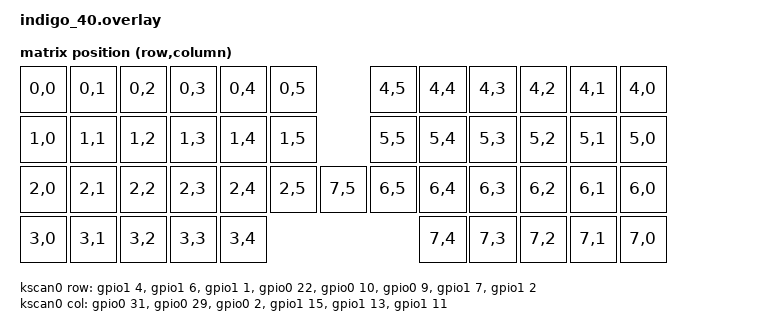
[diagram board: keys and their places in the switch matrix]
#include <dt-bindings/zmk/matrix_transform.h>
// #include <dt-bindings/zmk/input_transform.h> /* Uncomment for input transform */
#include "indigo_40-layouts.dtsi"

&pinctrl {
    /* configuration for spi0 device, default state */
    spi0_default: spi0_default {
        /* node name is arbitrary */
        group1 {
            psels = <NRF_PSEL(SPIM_SCK,  0, 20)>,
                    <NRF_PSEL(SPIM_MOSI, 0, 17)>;
        };
    };

    /* configuration for spi0 device, sleep state */
    spi0_sleep: spi0_sleep {
        group1 {
            psels = <NRF_PSEL(SPIM_SCK,  0, 20)>,
                    <NRF_PSEL(SPIM_MOSI, 0, 17)>;
            low-power-enable;
        };
    };

    /* configuration for i2c0 device, default state */
    i2c1_default: i2c1_default {
        /* node name is arbitrary */
        group2 {
            psels = <NRF_PSEL(TWIM_SDA, 1, 0 )>,
                    <NRF_PSEL(TWIM_SCL, 0, 11)>;
        };
    };

    /* configuration for i2c0 device, sleep state */
    i2c1_sleep: i2c1_sleep {
        group2 {
            psels = <NRF_PSEL(TWIM_SDA, 1, 0 )>,
                    <NRF_PSEL(TWIM_SCL, 0, 11)>;
            low-power-enable;
        };
    };
};

// Set up SPI on peripheral ID 0
&spi0 {
    status = "okay";
    compatible = "nordic,nrf-spim";
    pinctrl-0 = <&spi0_default>;
    pinctrl-1 = <&spi0_sleep>;
    pinctrl-names = "default", "sleep";
    cs-gpios = <&gpio0 24 GPIO_ACTIVE_LOW>;
};

// Create an alias for the nice_view shield
nice_view_spi: &spi0 {};

// Set up I2C on peripheral ID 0
&i2c1 {
    status = "okay";
    compatible = "nordic,nrf-twim"; // I2C controller instead of generic
    pinctrl-0 = <&i2c1_default>;
    pinctrl-1 = <&i2c1_sleep>;
    pinctrl-names = "default", "sleep";
    clock-frequency = <I2C_BITRATE_FAST>;

    glidepoint: glidepoint@0 {
        status = "okay";
        compatible = "cirque,pinnacle";
        reg = <0>;
    };
};

/ {

    kscan0: kscan_0 {
        compatible = "zmk,kscan-gpio-matrix";
        diode-direction = "col2row";
        wakeup-source;

        col-gpios
            = <&gpio0 31 GPIO_ACTIVE_HIGH>
            , <&gpio0 29 GPIO_ACTIVE_HIGH>
            , <&gpio0 2  GPIO_ACTIVE_HIGH>
            , <&gpio1 15 GPIO_ACTIVE_HIGH>
            , <&gpio1 13 GPIO_ACTIVE_HIGH>
            , <&gpio1 11 GPIO_ACTIVE_HIGH>
            ;

        row-gpios
            = <&gpio1 4  (GPIO_ACTIVE_HIGH | GPIO_PULL_DOWN)>
            , <&gpio1 6  (GPIO_ACTIVE_HIGH | GPIO_PULL_DOWN)>
            , <&gpio1 1  (GPIO_ACTIVE_HIGH | GPIO_PULL_DOWN)>
            , <&gpio0 22 (GPIO_ACTIVE_HIGH | GPIO_PULL_DOWN)>
            , <&gpio0 10 (GPIO_ACTIVE_HIGH | GPIO_PULL_DOWN)>
            , <&gpio0 9  (GPIO_ACTIVE_HIGH | GPIO_PULL_DOWN)>
            , <&gpio1 7  (GPIO_ACTIVE_HIGH | GPIO_PULL_DOWN)>
            , <&gpio1 2  (GPIO_ACTIVE_HIGH | GPIO_PULL_DOWN)>
            ;
    };

    matrix_transform0: matrix_transform_0 {
        compatible = "zmk,matrix-transform";
        rows = <6>; // Length of the "row-gpios" array
        columns = <8>; // Length of the "col-gpios" array
        map = <
            RC(0,0)  RC(0,1)  RC(0,2)  RC(0,3)  RC(0,4)  RC(0,5)           RC(4,5)  RC(4,4)  RC(4,3)  RC(4,2)  RC(4,1)  RC(4,0)
            RC(1,0)  RC(1,1)  RC(1,2)  RC(1,3)  RC(1,4)  RC(1,5)           RC(5,5)  RC(5,4)  RC(5,3)  RC(5,2)  RC(5,1)  RC(5,0)
            RC(2,0)  RC(2,1)  RC(2,2)  RC(2,3)  RC(2,4)  RC(2,5)  RC(7,5)  RC(6,5)  RC(6,4)  RC(6,3)  RC(6,2)  RC(6,1)  RC(6,0)
            RC(3,0)  RC(3,1)  RC(3,2)  RC(3,3)  RC(3,4)                             RC(7,4)  RC(7,3)  RC(7,2)  RC(7,1)  RC(7,0)
        >;
    };

    glidepoint_listener {
        compatible = "zmk,input-listener";
        device = <&glidepoint>;
        // input-processors = <&zip_xy_transform (INPUT_TRANSFORM_XY_SWAP | INPUT_TRANSFORM_X_INVERT | INPUT_TRANSFORM_Y_INVERT)>; /* Uncomment for input transform */
    };

    chosen {
        zmk,physical-layout = &physical_layout0;
        // Other chosen items
    };

};
